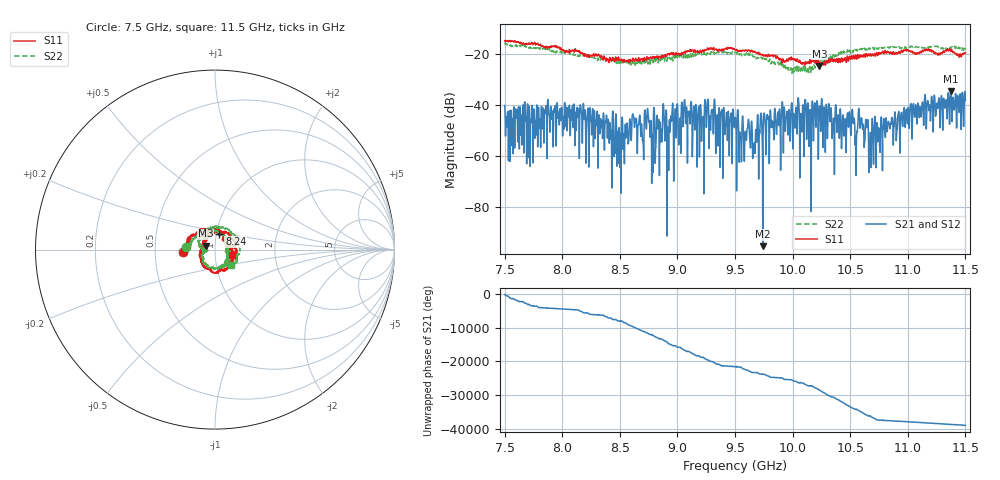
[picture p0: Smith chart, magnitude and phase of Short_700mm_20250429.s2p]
#  HZ  S  DB  R  50.00
! Rohde & Schwarz ZVA40 2Ports - Version 4.11 - 1145.1110k40 SN: 100216
! Date: 2025-04-29 18:30:00
! Measurements: S11 S21 S12 S22
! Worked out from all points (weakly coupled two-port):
!   5001 points, 7.5 GHz to 11.5 GHz, reference 50 ohm
!   highest |S21| = -34.75 dB at 11.37 GHz (marker M1); lowest = -95.4 dB at 9.741 GHz (marker M2)
!   lowest |S11| = -24.9 dB at 10.23 GHz (marker M3), VSWR 1.12, Z = 45 + j1.98 ohm
!   |S11| at or under -10 dB: start of sweep to end of sweep
!   |S22| runs from -27.8 to -15.7 dB; largest |S21 - S12| = 0.00014
!   S11 on the Smith chart (normalised r, x): 7.5 GHz: 0.70, -0.02; 8.24 GHz: 1.03, +0.18; 11.5 GHz: 1.21, -0.07
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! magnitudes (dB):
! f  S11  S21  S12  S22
! 7.5 GHz  -14.9  -40.4  -40.3  -15.7
! 7.553 GHz  -15.2  -42.2  -42.2  -16.8
! 8.167 GHz  -19.7  -42.9  -42.9  -21.1
! 8.24 GHz  -20.8  -41.3  -41.3  -21.5
! 8.493 GHz  -22.5  -49.2  -49.1  -23.8
! 8.625 GHz  -22.7  -47.4  -47.4  -23.1
! 8.834 GHz  -22.0  -47.2  -47.2  -23.7
! 8.928 GHz  -20.2  -48.9  -48.8  -21.8
! 9.052 GHz  -20.0  -45.0  -45.0  -21.5
! 9.211 GHz  -19.3  -50.3  -50.3  -20.5
! 9.253 GHz  -18.6  -47.6  -47.6  -20.4
! 9.5 GHz  -18.5  -45.6  -45.5  -19.5
! 9.67 GHz  -19.3  -55.0  -55.2  -21.3
! 9.741 GHz  -20.5  -95.4  -93.8  -22.0
! 10.17 GHz  -22.7  -41.4  -41.4  -24.6
! 10.23 GHz  -24.9  -40.7  -40.7  -24.8
! 10.55 GHz  -20.7  -52.4  -52.4  -18.7
! 10.59 GHz  -20.6  -49.2  -49.2  -18.2
! 10.68 GHz  -20.9  -63.7  -63.7  -17.8
! 10.83 GHz  -19.6  -46.9  -46.9  -17.7
! 11.37 GHz  -19.2  -34.8  -34.7  -17.7
! 11.5 GHz  -19.8  -38.4  -38.4  -18.4
